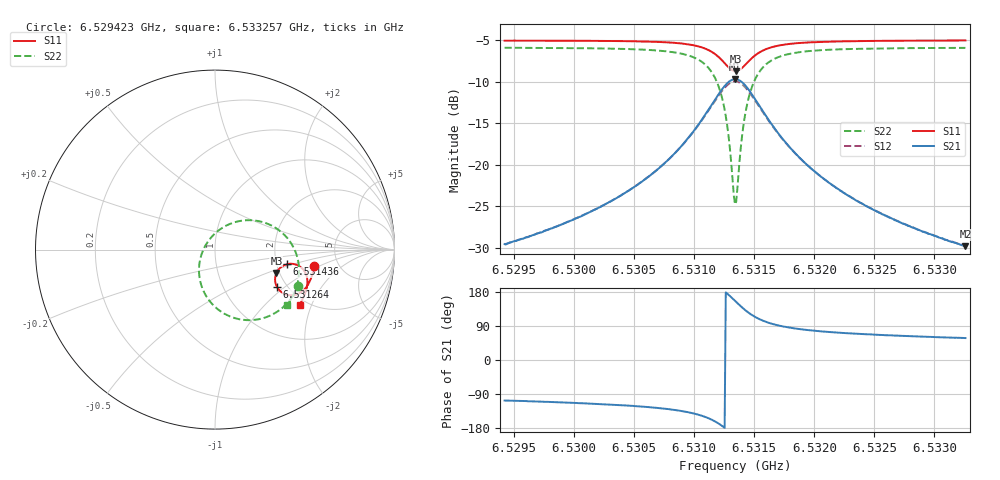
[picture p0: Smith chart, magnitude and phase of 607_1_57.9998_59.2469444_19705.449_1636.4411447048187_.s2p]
#  HZ  S  RI  R  50.00
! Rohde & Schwarz Vector Network Analyzer
! Rohde-Schwarz,ZNB20-2Port,1311601062101988,3.16
! Created: UTC 3/21/2024, 1:17:28 AM
! freq[Hz]  re:S11  im:S11  re:S21  im:S21  re:S12  im:S12  re:S22  im:S22
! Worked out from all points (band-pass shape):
!   401 points, 6.529423 GHz to 6.533257 GHz, reference 50 ohm
!   highest |S21| = -9.66 dB at 6.53134 GHz (marker M1); lowest = -29.8 dB at 6.533257 GHz (marker M2)
!   |S21| within 3 dB of the highest: 6.53115 GHz to 6.531534 GHz (383.7 kHz wide, 0.00588 % of centre)
!   lowest |S11| = -8.7 dB at 6.53135 GHz (marker M3), VSWR 2.16, Z = 96.3 - j29 ohm
!   |S11| at or under -10 dB: nowhere
!   |S22| runs from -24.7 to -5.9 dB; largest |S21 - S12| = 0.013
!   S11 on the Smith chart (normalised r, x): 6.529423 GHz: 3.31, -0.86; 6.531264 GHz: 1.77, -0.88; 6.531436 GHz: 2.27, -0.45; 6.533257 GHz: 1.83, -1.64
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6.5294232e9  0.5536 -0.0886  -0.00971 -0.0319  -0.0102 -0.0316  0.4648 -0.2051
6.5300654e9  0.541 -0.1427  -0.0202 -0.045  -0.0213 -0.0446  0.4296 -0.2647
6.5304392e9  0.5272 -0.1783  -0.0346 -0.0597  -0.0362 -0.0587  0.3919 -0.3091
6.5307076e9  0.5096 -0.2082  -0.0573 -0.0765  -0.0596 -0.0748  0.3408 -0.3496
6.5309376e9  0.4784 -0.2383  -0.1035 -0.0964  -0.1063 -0.0925  0.2484 -0.3871
6.5311006e9  0.4294 -0.2548  -0.1796 -0.0986  -0.1814 -0.0909  0.1104 -0.3818
6.5311964e9  0.3804 -0.2436  -0.2546 -0.0625  -0.2521 -0.0517  -0.0124 -0.3067
6.5312635e9  0.3455 -0.2084  -0.3041 0.00855  -0.296 0.0187  -0.0817 -0.179
6.5312923e9  0.3367 -0.1846  -0.314 0.0526  -0.3033 0.0605  -0.0893 -0.1049
6.531321e9  0.3352 -0.1574  -0.3108 0.1009  -0.2987 0.106  -0.075 -0.0266
6.5313402e9  0.339 -0.1392  -0.3007 0.1328  -0.2883 0.1356  -0.053 0.0235
6.5313498e9  0.3424 -0.1305  -0.2935 0.1477  -0.2811 0.1495  -0.038 0.0464
6.5313594e9  0.3467 -0.1223  -0.2848 0.1619  -0.2725 0.1626  -0.0212 0.0681
6.5313977e9  0.3707 -0.0955  -0.2386 0.2068  -0.2286 0.2042  0.0617 0.1332
6.5314361e9  0.4004 -0.0815  -0.1855 0.2298  -0.1784 0.2258  0.1533 0.1617
6.5315032e9  0.4469 -0.0822  -0.1043 0.2292  -0.101 0.2255  0.2882 0.1459
6.531599e9  0.4871 -0.1063  -0.0359 0.1933  -0.0345 0.1913  0.3979 0.0701
6.5317428e9  0.5096 -0.1445  0.00407 0.1417  0.0051 0.1409  0.4558 -0.033
6.5319824e9  0.5146 -0.189  0.0199 0.0919  0.021 0.0915  0.4677 -0.1354
6.5322796e9  0.5079 -0.2262  0.0218 0.0618  0.0228 0.0616  0.4551 -0.204
6.5326246e9  0.4961 -0.2588  0.0202 0.0438  0.0211 0.0435  0.4358 -0.2529
6.5332573e9  0.4708 -0.307  0.0172 0.0275  0.0178 0.0272  0.4008 -0.3109
